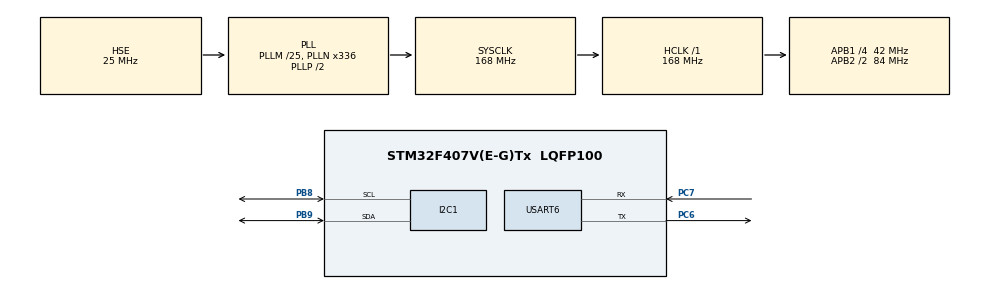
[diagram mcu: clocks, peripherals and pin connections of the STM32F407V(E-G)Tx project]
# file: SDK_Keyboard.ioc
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Mcu.Family=STM32F4
Mcu.Name=STM32F407V(E-G)Tx
Mcu.Package=LQFP100
NVIC.PriorityGroup=NVIC_PRIORITYGROUP_4
PA13.Mode=JTAG_5_pins
PA13.Signal=SYS_JTMS-SWDIO
PA14.Mode=JTAG_5_pins
PA14.Signal=SYS_JTCK-SWCLK
PA15.Mode=JTAG_5_pins
PA15.Signal=SYS_JTDI
PB3.Mode=JTAG_5_pins
PB3.Signal=SYS_JTDO-SWO
PB4.Mode=JTAG_5_pins
PB4.Signal=SYS_JTRST
PB8.GPIO_Pu=GPIO_PULLUP
PB8.Mode=I2C
PB8.Signal=I2C1_SCL
PB9.GPIO_Pu=GPIO_PULLUP
PB9.Mode=I2C
PB9.Signal=I2C1_SDA
PC6.Mode=Asynchronous
PC6.Signal=USART6_TX
PC7.Mode=Asynchronous
PC7.Signal=USART6_RX
PH0-OSC_IN.Mode=HSE-External-Oscillator
PH0-OSC_IN.Signal=RCC_OSC_IN
PH1-OSC_OUT.Mode=HSE-External-Oscillator
PH1-OSC_OUT.Signal=RCC_OSC_OUT
ProjectManager.HeapSize=0x200
ProjectManager.StackSize=0x400
ProjectManager.TargetToolchain=STM32CubeIDE
RCC.48MHZClocksFreq_Value=84000000
RCC.AHBFreq_Value=168000000
RCC.APB1CLKDivider=RCC_HCLK_DIV4
RCC.APB1Freq_Value=42000000
RCC.APB1TimFreq_Value=84000000
RCC.APB2CLKDivider=RCC_HCLK_DIV2
RCC.APB2Freq_Value=84000000
RCC.APB2TimFreq_Value=168000000
RCC.CortexFreq_Value=168000000
RCC.HCLKFreq_Value=168000000
RCC.HSE_VALUE=25000000
RCC.HSI_VALUE=16000000
RCC.LSE_VALUE=32768
RCC.PLLM=25
RCC.PLLN=336
RCC.PLLSourceVirtual=RCC_PLLSOURCE_HSE
RCC.SYSCLKFreq_VALUE=168000000
RCC.SYSCLKSource=RCC_SYSCLKSOURCE_PLLCLK
RCC.VCOOutputFreq_Value=336000000
USART6.VirtualMode=VM_ASYNC
board=custom

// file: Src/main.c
/* USER CODE BEGIN Header */
/**
  ******************************************************************************
  * @file           : main.c
  * @brief          : Main program body
  ******************************************************************************
  * @attention
  *
  * <h2><center>&copy; Copyright (c) 2019 STMicroelectronics.
  * All rights reserved.</center></h2>
  *
  * This software component is licensed by ST under BSD 3-Clause license,
  * the "License"; You may not use this file except in compliance with the
  * License. You may obtain a copy of the License at:
  *                        opensource.org/licenses/BSD-3-Clause
  *
  ******************************************************************************
  */
/* USER CODE END Header */
#include "main.h"
#include "i2c.h"
#include "usart.h"
#include "gpio.h"

/* USER CODE BEGIN Includes */
#include "kb.h"
#include "sdk_uart.h"
#include "pca9538.h"
#include "oled.h"
#include "fonts.h"
/* USER CODE END Includes */

void SystemClock_Config(void);
/* USER CODE BEGIN PFP */
void KB_Test( void );
int calculator( int acc );
void OLED_KB( uint8_t OLED_Keys[12]);
void oled_Reset( void );
/* USER CODE END PFP */

int main(void)
{

  /* MCU Configuration--------------------------------------------------------*/

  /* Reset of all peripherals, Initializes the Flash interface and the Systick. */
  HAL_Init();

  /* Configure the system clock */
  SystemClock_Config();

  /* Initialize all configured peripherals */
  MX_GPIO_Init();
  MX_I2C1_Init();
  MX_USART6_UART_Init();
  /* USER CODE BEGIN 2 */
  oled_Init();

  /* USER CODE END 2 */

  /* Infinite loop */
  /* USER CODE BEGIN WHILE */
  int acc = 0;
  while (1) {
	  acc = calculator(acc);
  }
  /* USER CODE END 3 */
}

void SystemClock_Config(void)
{
  RCC_OscInitTypeDef RCC_OscInitStruct = {0};
  RCC_ClkInitTypeDef RCC_ClkInitStruct = {0};

  /** Configure the main internal regulator output voltage
  */
  __HAL_RCC_PWR_CLK_ENABLE();
  __HAL_PWR_VOLTAGESCALING_CONFIG(PWR_REGULATOR_VOLTAGE_SCALE1);

  /** Initializes the RCC Oscillators according to the specified parameters
  * in the RCC_OscInitTypeDef structure.
  */
  RCC_OscInitStruct.OscillatorType = RCC_OSCILLATORTYPE_HSE;
  RCC_OscInitStruct.HSEState = RCC_HSE_ON;
  RCC_OscInitStruct.PLL.PLLState = RCC_PLL_ON;
  RCC_OscInitStruct.PLL.PLLSource = RCC_PLLSOURCE_HSE;
  RCC_OscInitStruct.PLL.PLLM = 25;
  RCC_OscInitStruct.PLL.PLLN = 336;
  RCC_OscInitStruct.PLL.PLLP = RCC_PLLP_DIV2;
  RCC_OscInitStruct.PLL.PLLQ = 4;
  if (HAL_RCC_OscConfig(&RCC_OscInitStruct) != HAL_OK)
  {
    Error_Handler();
  }

  /** Initializes the CPU, AHB and APB buses clocks
  */
  RCC_ClkInitStruct.ClockType = RCC_CLOCKTYPE_HCLK|RCC_CLOCKTYPE_SYSCLK
                              |RCC_CLOCKTYPE_PCLK1|RCC_CLOCKTYPE_PCLK2;
  RCC_ClkInitStruct.SYSCLKSource = RCC_SYSCLKSOURCE_PLLCLK;
  RCC_ClkInitStruct.AHBCLKDivider = RCC_SYSCLK_DIV1;
  RCC_ClkInitStruct.APB1CLKDivider = RCC_HCLK_DIV4;
  RCC_ClkInitStruct.APB2CLKDivider = RCC_HCLK_DIV2;

  if (HAL_RCC_ClockConfig(&RCC_ClkInitStruct, FLASH_LATENCY_5) != HAL_OK)
  {
    Error_Handler();
  }
}

/* USER CODE BEGIN 4 */
void KB_Test( void ) {
	UART_Transmit( (uint8_t*)"KB test start\n" );
	uint8_t R = 0, C = 0, L = 0, Row[4] = {ROW4, ROW3, ROW2, ROW1}, Key, OldKey, OLED_Keys[12] = {0x30,0x30,0x30,0x30,0x30,0x30,0x30,0x30,0x30,0x30,0x30,0x30};
	oled_Reset();
	oled_WriteString("From bottom", Font_7x10, White);
	OLED_KB(OLED_Keys);
	oled_UpdateScreen();
	for ( int i = 0; i < 4; i++ ) {
		while( !( R && C && L ) ) {
			OldKey = Key;
			Key = Check_Row( Row[i] );
			if ( Key == 0x01 && Key != OldKey) {
				UART_Transmit( (uint8_t*)"Right pressed\n" );
				R = 1;
				OLED_Keys[2+3*i] = 0x31;
				OLED_KB(OLED_Keys);
			} else if ( Key == 0x02 && Key != OldKey) {
				UART_Transmit( (uint8_t*)"Center pressed\n" );
				C = 1;
				OLED_Keys[1+3*i] = 0x31;
				OLED_KB(OLED_Keys);
			} else if ( Key == 0x04 && Key != OldKey) {
				UART_Transmit( (uint8_t*)"Left pressed\n" );
				L = 1;
				OLED_Keys[3*i] = 0x31;
				OLED_KB(OLED_Keys);
			}
		}
		UART_Transmit( (uint8_t*)"Row complete\n" );
		R = C = L = 0;
		HAL_Delay(25);
	}
	UART_Transmit( (uint8_t*)"KB test complete\n");
}

char get_key()
{
	int i;
	int key;
	uint8_t Row[4] = {ROW1, ROW2, ROW3, ROW4};
	char array[] = {'1', '2', '3', '4', '5', '6', '7', '8', '9', '*', '0', '#'};

	for (i = 0; i < 4; i++) {
		key = Check_Row(Row[i]);
		if (key == 0x01) {
			return array[i * 3 + 2];
		} else if (key == 0x02) {
			return array[i * 3 + 1];
		} else if (key == 0x04) {
			return array[i * 3];
		}
	}
	return '\0';
}

void print_op(int operation)
{
	int r = operation % 4;

    oled_SetCursor(70, 10);

    switch (r) {
	case 0:
    	oled_WriteChar('+', Font_7x10, White);
    	break;
	case 1:
		oled_WriteChar('-', Font_7x10, White);
		break;
	case 2:
		oled_WriteChar('*', Font_7x10, White);
    	break;
	case 3:
		oled_WriteChar('/', Font_7x10, White);
    }
}

void print_bound()
{
    oled_SetCursor(0, 50);
	oled_WriteString("out of bound", Font_7x10, White);
	oled_UpdateScreen();
}

void make_operation(int *a, int *b, int operation) {
	int r = operation % 4;
	switch (r) {
	case 0:
		*a += *b;
		if (*a >= 1000000) {
			print_bound();
		}
		*a %= 1000000;
	    break;
	case 1:
		*a -= *b;
		if (*a >= 1000000 || *a < 0) {
			print_bound();
		}
		*a %= 1000000;
		break;
	case 2:
		*a *= *b;
		if (*a >= 1000000) {
			print_bound();
		}
		*a %= 1000000;
		break;
	case 3:
		*a /= *b;
		if (*a >= 1000000) {
			print_bound();
		}
		*a %= 1000000;
	}
}

void int_to_string(char buffer[20], int n)
{
	int i = 0, j = 0;
	char buf[20];
	while (n > 0) {
		buf[i++]= '0' + n % 10;
		n /= 10;
	}
	buffer[i] = '\0';
	while (i > 0) {
		buffer[j++] = buf[--i];
	}
}

int calculator(int acc)
{
	char key = '\0', old_key;
	int prev = 1;
	int operation = -1;
	int operand = 0;
	char buffer[20];
	UART_Transmit( (uint8_t*)"KB test start\n" );
	oled_Reset();
	oled_WriteString("Input number:", Font_7x10, White);
	oled_UpdateScreen();

    oled_SetCursor(0, 10);

    if (acc != 0) {
        int_to_string(buffer, acc);
	    oled_WriteString(buffer, Font_7x10, White);
	    print_op(++operation);
	    oled_SetCursor(0, 20);
	  	oled_UpdateScreen();
    }

	while (1) {
		old_key = key;
	    key = get_key();
		if (key != '\0' && old_key == key) {
			old_key = '\0';
			HAL_Delay(50);
			continue;
		}
	    if (key == '#') {
			make_operation(&acc, &operand, operation);
			int_to_string(buffer, acc);
			oled_SetCursor(0, 30);
			oled_WriteString("Result: ", Font_7x10, White);
			oled_WriteString(buffer, Font_7x10, White);
			oled_UpdateScreen();
			HAL_Delay(1000);
			break;
	    }

	    switch (key) {
	    case '\0':
	        break;
	    case '*':
	    	print_op(++operation);
		    oled_SetCursor(0, 20);
		  	oled_UpdateScreen();
	        if (prev) {
	            make_operation(&acc, &operand, operation);
	            prev = 0;
	            operand = 0;
	        }
	        break;
	    default:
	        prev = 1;
	        if (operand == 0 && key == '0') {
	        	continue;
	        }
	        if (operand * 10 <= 999990) {
	            operand *= 10;
	            operand += key - '0';
			    oled_WriteChar(key, Font_7x10, White);
			    oled_UpdateScreen();
	        }
	    }
	}

	UART_Transmit( (uint8_t*)"KB test complete\n");
	return acc;
}

void OLED_KB( uint8_t OLED_Keys[12]) {
	for (int i = 3; i >= 0; i--) {
		oled_SetCursor(56, 5+(4-i)*10);
		for (int j = 0; j < 3; j++) {
			oled_WriteChar(OLED_Keys[j+3*i], Font_7x10, White);
		}
	}
	oled_UpdateScreen();
}
void oled_Reset( void ) {
	oled_Fill(Black);
	oled_SetCursor(0, 0);
	oled_UpdateScreen();
}
/* USER CODE END 4 */

void Error_Handler(void)
{
}
